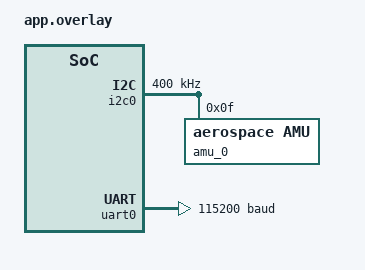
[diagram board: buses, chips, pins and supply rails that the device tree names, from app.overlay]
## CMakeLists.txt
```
cmake_minimum_required(VERSION 3.20.0)

set(BOARD rpi_pico2/rp2350a/m33)
set(BOARD_FLASH_RUNNER openocd)
list(APPEND ZEPHYR_EXTRA_MODULES ${CMAKE_CURRENT_SOURCE_DIR}/../..)

find_package(Zephyr REQUIRED HINTS $ENV{ZEPHYR_BASE})
project(amu_repl)

zephyr_include_directories(${WEST_TOPDIR}/perovsat-protocol)

target_sources(app PRIVATE src/main.c)
```

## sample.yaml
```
sample:
  name: AMU REPL
common:
  tags: drivers
  platform_allow:
    - rpi_pico2/rp2350a/m33
  build_only: true
tests:
  sample.amu.repl: {}
```

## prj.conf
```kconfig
CONFIG_SHELL=y
CONFIG_DEVICE_SHELL=y
CONFIG_SERIAL=y
CONFIG_CONSOLE=y
CONFIG_GPIO=y
CONFIG_GPIO_SHELL=y
CONFIG_I2C=y
CONFIG_I2C_SHELL=y
CONFIG_UART_CONSOLE=y
CONFIG_SHELL_BACKEND_SERIAL=y
CONFIG_LOG=y
CONFIG_CBPRINTF_FP_SUPPORT=y
CONFIG_SHELL_STACK_SIZE=4096

CONFIG_PEROVSAT_AMU=y
CONFIG_PEROVSAT_AMU_BACKEND_HARDWARE=y
```

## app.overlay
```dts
/ {
	aliases {
		amu = &amu_0;
	};

	chosen {
		zephyr,console = &uart0;
		zephyr,shell-uart = &uart0;
	};
};

&i2c0 {
	status = "okay";
	clock-frequency = <400000>;

	amu_0: amu@f {
		compatible = "aerospace,amu";
		reg = <0x0f>;
		status = "okay";
		payload-index = <0>;
		face = "pos-z";
	};
};

&uart0 {
	status = "okay";
	current-speed = <115200>;
};
```

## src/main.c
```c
#include <errno.h>
#include <stdlib.h>
#include <string.h>

#include <zephyr/device.h>
#include <zephyr/shell/shell.h>

#include <amu.h>

static amu_t *sh_amu(const struct shell *sh)
{
	const struct device *zdev = DEVICE_DT_GET(DT_ALIAS(amu));

	if (!device_is_ready(zdev)) {
		shell_error(sh, "device not ready");
		return NULL;
	}

	return amu_from_dev(zdev);
}

static int sh_ret(const struct shell *sh, int ret)
{
	if (ret < 0) {
		shell_error(sh, "error %d", ret);
		return ret;
	}

	return 0;
}

static void print_config(const struct shell *sh, const amu_config_t *cfg)
{
	shell_print(sh, "type: %u", cfg->type);
	shell_print(sh, "numPoints: %u", cfg->numPoints);
	shell_print(sh, "delay: %u", cfg->delay);
	shell_print(sh, "ratio: %u", cfg->ratio);
	shell_print(sh, "power: %u", cfg->power);
	shell_print(sh, "dac_gain: %u", cfg->dac_gain);
	shell_print(sh, "sweep_averages: %u", cfg->sweep_averages);
	shell_print(sh, "adc_averages: %u", cfg->adc_averages);
	shell_print(sh, "am0: %f", (double)cfg->am0);
	shell_print(sh, "area: %f", (double)cfg->area);
}

static int parse_u8(const char *s, uint8_t *out)
{
	char *end;
	unsigned long v = strtoul(s, &end, 0);

	if (s[0] == '\0' || end == s || *end != '\0' || v > 0xFFul) {
		return -EINVAL;
	}

	*out = (uint8_t)v;
	return 0;
}

static int parse_u32(const char *s, uint32_t *out)
{
	char *end;
	unsigned long v;

	if (s[0] < '0' || s[0] > '9') {
		return -EINVAL;
	}
	errno = 0;
	v = strtoul(s, &end, 0);
	if (errno == ERANGE || *end != '\0' || v > UINT32_MAX) {
		return -EINVAL;
	}
	*out = (uint32_t)v;
	return 0;
}

static int cmd_probe(const struct shell *sh, size_t argc, char **argv)
{
	amu_t *dev = sh_amu(sh);

	ARG_UNUSED(argc);
	ARG_UNUSED(argv);
	if (dev == NULL) {
		return -ENODEV;
	}
	int ret = amu_probe(dev);
	if (ret == 0) {
		shell_print(sh, "AMU revision: %u", dev->hw_rev);
	}
	return sh_ret(sh, ret);
}

static int cmd_wait_ready(const struct shell *sh, size_t argc, char **argv)
{
	amu_t *dev = sh_amu(sh);
	uint32_t timeout_ms, poll_interval_ms;

	ARG_UNUSED(argc);
	if (dev == NULL) {
		return -ENODEV;
	}
	if (parse_u32(argv[1], &timeout_ms) < 0 || parse_u32(argv[2], &poll_interval_ms) < 0 ||
	    (timeout_ms != 0 && poll_interval_ms == 0)) {
		shell_error(sh, "invalid timeout or poll interval");
		return -EINVAL;
	}
	int ret = amu_wait_ready(dev, timeout_ms, poll_interval_ms);
	if (ret == 0) {
		shell_print(sh, "AMU ready");
	}
	return sh_ret(sh, ret);
}

static int cmd_apply_dt_config(const struct shell *sh, size_t argc, char **argv)
{
	const struct device *zdev = DEVICE_DT_GET(DT_ALIAS(amu));

	ARG_UNUSED(argc);
	ARG_UNUSED(argv);
	if (sh_amu(sh) == NULL) {
		return -ENODEV;
	}
	return sh_ret(sh, amu_apply_dt_config(zdev));
}

static int parse_float(const char *s, float *out)
{
	char *end;
	float v = strtof(s, &end);

	if (s[0] == '\0' || end == s || *end != '\0') {
		return -EINVAL;
	}

	*out = v;
	return 0;
}

static int cmd_get_config(const struct shell *sh, size_t argc, char **argv)
{
	amu_t *dev = sh_amu(sh);
	amu_config_t cfg;
	int ret;

	ARG_UNUSED(argc);
	ARG_UNUSED(argv);

	if (dev == NULL) {
		return -ENODEV;
	}

	ret = amu_get_config(dev, &cfg);
	if (sh_ret(sh, ret) < 0) {
		return ret;
	}

	print_config(sh, &cfg);
	return 0;
}

static int cmd_set_config(const struct shell *sh, size_t argc, char **argv)
{
	amu_t *dev = sh_amu(sh);
	amu_config_t cfg;
	const char *field = argv[1];
	int ret;

	ARG_UNUSED(argc);

	if (dev == NULL) {
		return -ENODEV;
	}

	ret = amu_get_config(dev, &cfg);
	if (ret < 0) {
		return sh_ret(sh, ret);
	}

	if (strcmp(field, "type") == 0) {
		ret = parse_u8(argv[2], &cfg.type);
	} else if (strcmp(field, "numPoints") == 0) {
		ret = parse_u8(argv[2], &cfg.numPoints);
	} else if (strcmp(field, "delay") == 0) {
		ret = parse_u8(argv[2], &cfg.delay);
	} else if (strcmp(field, "ratio") == 0) {
		ret = parse_u8(argv[2], &cfg.ratio);
	} else if (strcmp(field, "power") == 0) {
		ret = parse_u8(argv[2], &cfg.power);
	} else if (strcmp(field, "dac_gain") == 0) {
		ret = parse_u8(argv[2], &cfg.dac_gain);
	} else if (strcmp(field, "sweep_averages") == 0) {
		ret = parse_u8(argv[2], &cfg.sweep_averages);
	} else if (strcmp(field, "adc_averages") == 0) {
		ret = parse_u8(argv[2], &cfg.adc_averages);
	} else if (strcmp(field, "am0") == 0) {
		float am0;

		ret = parse_float(argv[2], &am0);
		if (ret == 0) {
			cfg.am0 = am0;
		}
	} else if (strcmp(field, "area") == 0) {
		float area;

		ret = parse_float(argv[2], &area);
		if (ret == 0) {
			cfg.area = area;
		}
	} else {
		shell_error(sh, "unknown field '%s'", field);
		return -EINVAL;
	}

	if (ret < 0) {
		shell_error(sh, "invalid value");
		return ret;
	}

	ret = amu_set_config(dev, &cfg);
	if (sh_ret(sh, ret) < 0) {
		return ret;
	}

	print_config(sh, &cfg);
	return 0;
}

static int cmd_save_config(const struct shell *sh, size_t argc, char **argv)
{
	amu_t *dev = sh_amu(sh);

	ARG_UNUSED(argc);
	ARG_UNUSED(argv);

	if (dev == NULL) {
		return -ENODEV;
	}

	return sh_ret(sh, amu_save_config(dev));
}

static int cmd_trigger_sweep(const struct shell *sh, size_t argc, char **argv)
{
	amu_t *dev = sh_amu(sh);

	ARG_UNUSED(argc);
	ARG_UNUSED(argv);

	if (dev == NULL) {
		return -ENODEV;
	}

	return sh_ret(sh, amu_trigger_sweep(dev));
}

static int cmd_get_sweep_meta(const struct shell *sh, size_t argc, char **argv)
{
	amu_t *dev = sh_amu(sh);
	psp_sweep_metadata meta;
	int ret;

	ARG_UNUSED(argc);
	ARG_UNUSED(argv);

	if (dev == NULL) {
		return -ENODEV;
	}

	ret = amu_get_sweep_meta(dev, &meta);
	if (sh_ret(sh, ret) < 0) {
		return ret;
	}

	shell_print(sh, "voc: %f", (double)meta.voc);
	shell_print(sh, "isc: %f", (double)meta.isc);
	shell_print(sh, "tsensor_start: %f", (double)meta.tsensor_start);
	shell_print(sh, "tsensor_end: %f", (double)meta.tsensor_end);
	shell_print(sh, "ff: %f", (double)meta.ff);
	shell_print(sh, "eff: %f", (double)meta.eff);
	shell_print(sh, "vmax: %f", (double)meta.vmax);
	shell_print(sh, "imax: %f", (double)meta.imax);
	shell_print(sh, "pmax: %f", (double)meta.pmax);
	shell_print(sh, "adc: %f", (double)meta.adc);
	shell_print(sh, "timestamp: %u", meta.timestamp);
	shell_print(sh, "crc: 0x%08x", meta.crc);
	return 0;
}

static int cmd_get_sweep_iv(const struct shell *sh, size_t argc, char **argv)
{
	amu_t *dev = sh_amu(sh);
	psp_sweep_points iv;
	int ret;
	int i;

	ARG_UNUSED(argc);
	ARG_UNUSED(argv);

	if (dev == NULL) {
		return -ENODEV;
	}

	ret = amu_get_sweep_iv(dev, &iv);
	if (sh_ret(sh, ret) < 0) {
		return ret;
	}

	shell_print(sh, "i voltage current");
	for (i = 0; i < PSP_IV_POINTS; i++) {
		shell_print(sh, "%d %f %f", i, (double)iv.voltage[i], (double)iv.current[i]);
	}

	return 0;
}

static int cmd_dac_enable(const struct shell *sh, size_t argc, char **argv)
{
	amu_t *dev = sh_amu(sh);
	float voltage;
	int ret;

	ARG_UNUSED(argc);

	if (dev == NULL) {
		return -ENODEV;
	}

	ret = parse_float(argv[1], &voltage);
	if (ret < 0) {
		shell_error(sh, "invalid voltage");
		return ret;
	}

	return sh_ret(sh, amu_dac_enable(dev, voltage));
}

static int cmd_dac_disable(const struct shell *sh, size_t argc, char **argv)
{
	amu_t *dev = sh_amu(sh);

	ARG_UNUSED(argc);
	ARG_UNUSED(argv);

	if (dev == NULL) {
		return -ENODEV;
	}

	return sh_ret(sh, amu_dac_disable(dev));
}

static int cmd_set_address(const struct shell *sh, size_t argc, char **argv)
{
	amu_t *dev = sh_amu(sh);
	uint8_t addr;
	int ret;

	ARG_UNUSED(argc);

	if (dev == NULL) {
		return -ENODEV;
	}

	ret = parse_u8(argv[1], &addr);
	if (ret < 0) {
		shell_error(sh, "invalid address");
		return ret;
	}

	return sh_ret(sh, amu_set_address(dev, addr));
}

SHELL_STATIC_SUBCMD_SET_CREATE(
	amu_cmds, SHELL_CMD_ARG(probe, NULL, "Probe the AMU", cmd_probe, 1, 0),
	SHELL_CMD_ARG(wait_ready, NULL, "Wait for idle: <timeout_ms> <poll_interval_ms>",
		      cmd_wait_ready, 3, 0),
	SHELL_CMD_ARG(apply_dt_config, NULL, "Apply DT configuration overrides",
		      cmd_apply_dt_config, 1, 0),
	SHELL_CMD_ARG(get_config, NULL, "Read sweep config", cmd_get_config, 1, 0),
	SHELL_CMD_ARG(set_config, NULL,
		      "Set one config field: <field> <value>\n"
		      "fields: type numPoints delay ratio power dac_gain "
		      "sweep_averages adc_averages am0 area",
		      cmd_set_config, 3, 0),
	SHELL_CMD_ARG(save_config, NULL, "Save config on the device", cmd_save_config, 1, 0),
	SHELL_CMD_ARG(trigger_sweep, NULL, "Trigger an IV sweep", cmd_trigger_sweep, 1, 0),
	SHELL_CMD_ARG(get_sweep_meta, NULL, "Read sweep metadata", cmd_get_sweep_meta, 1, 0),
	SHELL_CMD_ARG(get_sweep_iv, NULL, "Read sweep IV points", cmd_get_sweep_iv, 1, 0),
	SHELL_CMD_ARG(dac_enable, NULL, "Set DAC voltage and enable: <voltage>", cmd_dac_enable, 2,
		      0),
	SHELL_CMD_ARG(dac_disable, NULL, "Disable DAC", cmd_dac_disable, 1, 0),
	SHELL_CMD_ARG(set_address, NULL, "Set AMU bus address: <addr>", cmd_set_address, 2, 0),
	SHELL_SUBCMD_SET_END);

SHELL_CMD_REGISTER(amu, &amu_cmds, "AMU driver", NULL);

int main(void)
{
	return 0;
}
```
